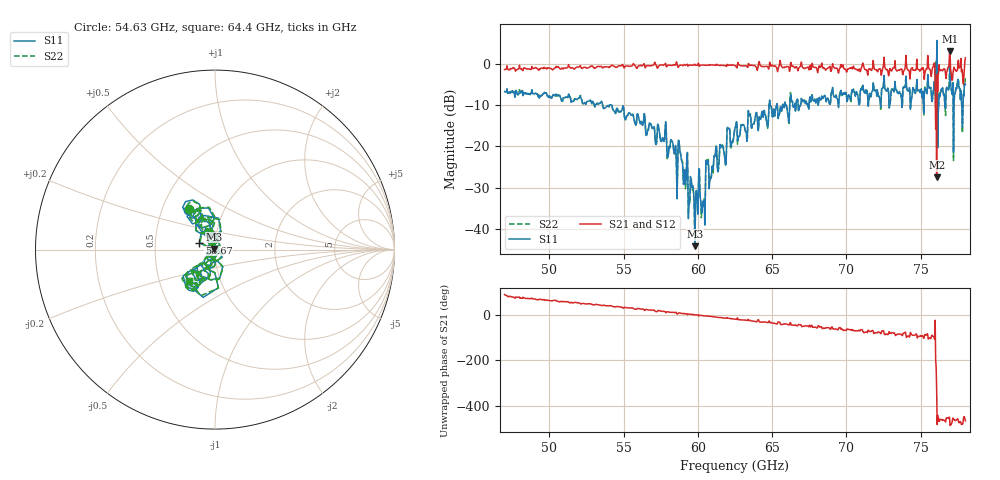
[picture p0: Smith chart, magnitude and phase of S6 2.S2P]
!  2-Port S-parameters saved by WinCal
! VAR ChuckHeaterState=Unknown
! VAR ChuckTemp=NaN
! VAR ChuckTempUnits=C
! VAR NAME=S6 2
! VAR FILENAME=S6 2.S2P
! VAR DATE=8/1/2024 12:10:27 PM
! VAR PHYS_PORTS=1,2
! VAR ObjTypeName=DATASET
! VAR IndexType=Frequency
# Hz S DB R 1
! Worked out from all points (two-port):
!   931 points, 47 GHz to 78 GHz, reference 1 ohm
!   highest |S21| = 3.14 dB at 76.97 GHz (marker M1); lowest = -27.5 dB at 76.07 GHz (marker M2)
!   |S21| within 3 dB of the highest: 57.06659 GHz to 57.1452 GHz (78.6 MHz wide, 0.138 % of centre); 76.90098 GHz to 76.99089 GHz (89.91 MHz wide, 0.117 % of centre)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
!   lowest |S11| = -44.3 dB at 59.8 GHz (marker M3), VSWR 1.01, Z = 0.99 + j0.00662 ohm
!   |S11| at or under -10 dB: 53.59 GHz to 54.06 GHz (461.1 MHz wide, 0.857 % of centre); 54.21 GHz to 64.79 GHz (10.58 GHz wide, 17.8 % of centre); 64.87 GHz to 65.3 GHz (428.7 MHz wide, 0.659 % of centre)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
!   |S22| runs from -43.8 to 0.9 dB; largest |S21 - S12| = 0.52
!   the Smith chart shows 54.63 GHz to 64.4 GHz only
!   S11 on the Smith chart (normalised r, x): 54.63 GHz: 0.68, +0.32; 58.67 GHz: 0.84, +0.07; 64.4 GHz: 0.71, -0.26
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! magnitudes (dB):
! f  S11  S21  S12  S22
! 47 GHz  -6.6  -1.3  -1.3  -6.7
! 52.17 GHz  -8.6  -0.9  -0.9  -8.3
! 54.63 GHz  -11.5  -0.5  -0.5  -11.4
! 57.37 GHz  -15.7  -0.4  -0.4  -15.5
! 58.67 GHz  -20.4  -0.8  -0.8  -20.6
! 58.8 GHz  -21.4  -0.2  -0.2  -21.3
! 59.8 GHz  -44.3  0.0  0.0  -43.8
! 60 GHz  -36.5  -0.1  -0.1  -34.5
! 60.37 GHz  -34.6  -0.2  -0.2  -34.5
! 60.67 GHz  -23.4  -0.2  -0.2  -23.3
! 60.9 GHz  -27.5  -0.2  -0.2  -27.6
! 62.5 GHz  -15.5  -0.3  -0.3  -15.3
! 64.4 GHz  -12.9  -0.5  -0.5  -12.8
! 67.67 GHz  -7.6  -0.4  -0.4  -7.4
! 72.87 GHz  -10.7  -2.3  -2.3  -9.5
! 75.8 GHz  -7.7  -0.7  -0.7  -8.1
! 75.97 GHz  -5.9  -5.7  -5.7  -5.6
! 76.07 GHz  1.6  -27.5  -27.5  0.6
! 76.3 GHz  -7.6  -1.5  -1.5  -7.5
! 76.97 GHz  1.2  3.1  3.1  -3.0
! 77.77 GHz  -10.8  -1.2  -1.2  -10.9
! 78 GHz  -4.9  1.6  1.6  -3.4
